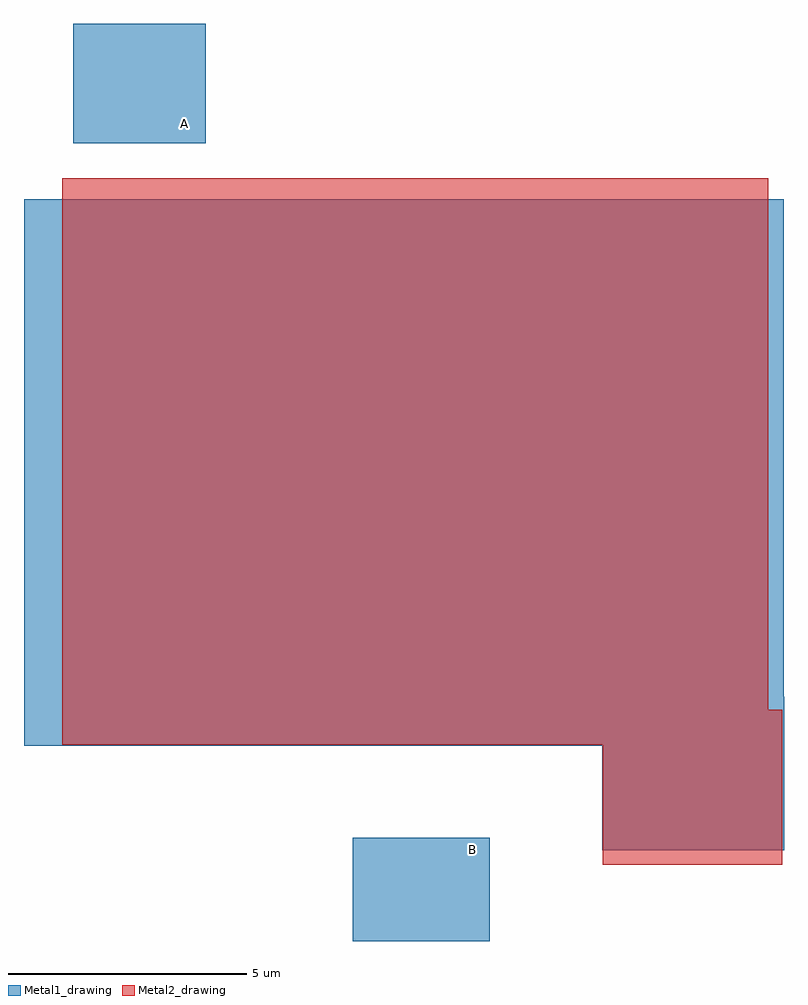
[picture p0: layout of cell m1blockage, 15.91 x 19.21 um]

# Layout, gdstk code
import gdstk
lib = gdstk.Library(unit=1e-6, precision=1e-09)
def R(c, l, rs):  # rectangles x0, y0, x1, y1
    for r in rs: c.add(gdstk.rectangle(r[:2], r[2:], *l))
Metal1_drawing = (49, 0)
Metal2_drawing = (51, 0)

m1blockage = lib.new_cell('m1blockage')
R(m1blockage, Metal1_drawing, [(4.49,0.09,7.355,2.255), (9.71,1.995,13.515,5.21), (-2.395,4.18,13.51,15.62), (4.04,9.275,8.405,12.49), (-1.36,16.8,1.41,19.3)])
R(m1blockage, Metal2_drawing, [(9.725,1.695,13.475,4.935), (-1.595,4.2,13.185,16.065), (3.52,9.255,8.99,14.695)])
m1blockage.add(gdstk.Label('B', (6.986,2.012), layer=49, texttype=0))
m1blockage.add(gdstk.Label('A', (0.96,17.212), layer=49, texttype=0))

lib.write_gds('m1blockage.gds')
